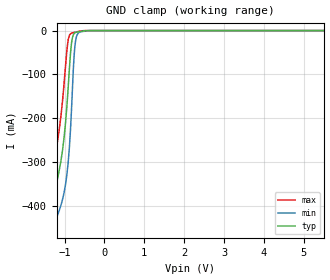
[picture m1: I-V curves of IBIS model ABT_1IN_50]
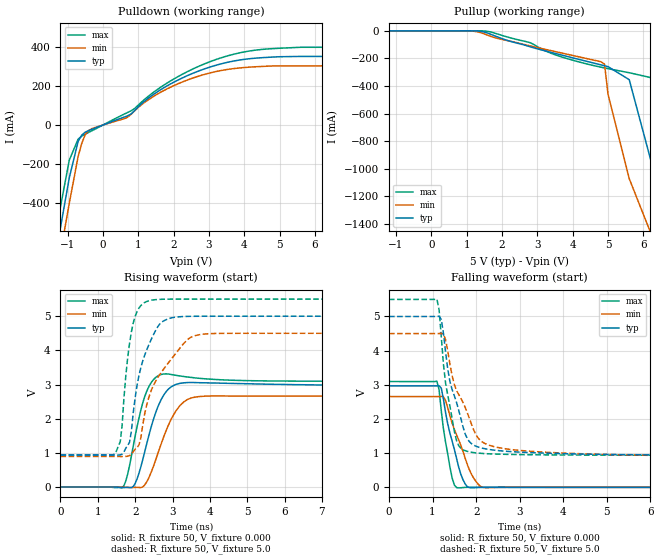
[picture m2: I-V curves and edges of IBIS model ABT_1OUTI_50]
| Philips Semiconductors Inc.
| Logic Products Group
| IBIS model of 74ABT04
| 5V HEX INVERTER
|[Packages]:
|[Package1]: SO 14-pin (D) Package ;
|[Package2]: SSOP 14-Pin Packages ;
|[Package3]: TSSOP 14-pin (PW) Package ;
[IBIS Ver]   3.2
[File Name]   abt04.ibs
[File Rev]   2.0
[Date]   04-Apr-2006
[Source]   File created from simulations by LPG
   Philips Semiconductors Nijmegen
[Notes]   V2.0   Ibis model.
Revision History
| Version Date   Author/ Description
|   Editor
| 1.0   1999   TA   Initial Version
| 1.1   September 2002 RM   Created fro IBIS version 3.2
| 1.2   February 2003  RM   Improved IBIS model
| 2.0   March 2006   RRV   Updated IBIS model
[Disclaimer]
    (C) Copyright 2003 Philips Semiconductors
    All rights reserved
    Philips Semiconductors warrants and represents that the IBIS model
    identified herein is owned by Philips Semiconductors (PHILIPS). The
    model provided is not warranted as fully representing all of the
    operating characteristics and specifications of the semiconductor
    products to which the model relates.  Moreover, unless there is a
    signed, written agreement to the contrary, this IBIS model is
    furnished on an "as is" basis without support or warranty of any
    kind, either expressed or implied, regarding the use thereof, and
    PHILIPS specifically disclaims all implied warranties of
    merchantability and fitness of the model for any purpose.
    PHILIPS does not assume any liability arising out of the application
    or use of this IBIS model including infringement of patents and
    copyrights, nor does PHILIPS convey any license under its patents and
    copyrights or the rights of others.
    PHILIPS provides IBIS models as a service to our customers. You and
    your company shall not distribute, convey, sell, or give these models
    to anyone else without receiving prior written permission from
    PHILIPS.
    PHILIPS reserves the right to make changes without notice to these
    IBIS models to improve reliability, function, or design.
    Please be aware that your receipt and subsequent use of the IBIS
    information provided shall serve as acceptance of the terms and
    conditions of this agreement.  If you do not accept these terms,
    you should return or destroy the IBIS models and any other
    accompanying information immediately.
|   Info for  SO 14-pin (D) Package
[Component]   74ABT04_1
[Manufacturer]   Philips Semiconductors Inc.
[Package]
|   typ   min   max
R_pkg   4.54E-02   4.18E-02   5.01E-02
L_pkg   2.31E-09   1.63E-09   3.26E-09
C_pkg   0.565E-12  0.437E-12  0.736E-12
[Pin] signal_name   model_name   R_pin   L_pin   C_pin
   1   1A   ABT_1IN_50 4.18E-02  3.26E-09 0.675E-12
   2   1Y#   ABT_1OUTI_50 5.01E-02  2.30E-09 0.574E-12
   3   2A   ABT_1IN_50 4.52E-02  1.71E-09 0.467E-12
   4   2Y#   ABT_1OUTI_50 4.38E-02  1.63E-09 0.437E-12
   5   3A   ABT_1IN_50 4.52E-02  1.71E-09 0.465E-12
   6   3Y#   ABT_1OUTI_50 5.01E-02  2.30E-09 0.573E-12
   7   GND   GND 4.18E-02  3.26E-09 0.736E-12
   8   4Y#   ABT_1OUTI_50 4.18E-02  3.26E-09 0.736E-12
   9   4A   ABT_1IN_50 5.01E-02  2.30E-09 0.573E-12
   10   5Y#   ABT_1OUTI_50 4.52E-02  1.71E-09 0.465E-12
   11   5A   ABT_1IN_50 4.38E-02  1.63E-09 0.437E-12
   12   6Y#   ABT_1OUTI_50 4.52E-02  1.71E-09 0.467E-12
   13   6A   ABT_1IN_50 5.01E-02  2.30E-09 0.574E-12
   14   VCC   POWER 4.18E-02  3.26E-09 0.736E-12
|   Info for  SSOP 14-Pin Packages
[Component]   74ABT04_2
[Manufacturer]   Philips Semiconductors Inc.
[Package]
|   typ   min   max
R_pkg   18.10E-03   15.70E-03   19.10E-03
L_pkg   2.12E-09   1.76E-09   2.65E-09
C_pkg   0.59E-12   0.55E-12   0.64E-12
[Pin] signal_name   model_name   R_pin   L_pin   C_pin
   1   1A   ABT_1IN_50 19.10E-03  2.65E-09  0.58E-12
   2   1Y#   ABT_1OUTI_50 17.70E-03  2.07E-09  0.64E-12
   3   2A   ABT_1IN_50 18.70E-03  1.82E-09  0.57E-12
   4   2Y#   ABT_1OUTI_50 15.70E-03  1.76E-09  0.55E-12
   5   3A   ABT_1IN_50 18.70E-03  1.82E-09  0.57E-12
   6   3Y#   ABT_1OUTI_50 17.70E-03  2.07E-09  0.63E-12
   7   GND   GND 19.10E-03  2.65E-09  0.60E-12
   8   4Y#   ABT_1OUTI_50 19.10E-03  2.65E-09  0.60E-12
   9   4A   ABT_1IN_50 17.80E-03  2.07E-09  0.64E-12
   10   5Y#   ABT_1OUTI_50 18.70E-03  1.82E-09  0.57E-12
   11   5A   ABT_1IN_50 15.70E-03  1.76E-09  0.55E-12
   12   6Y#   ABT_1OUTI_50 18.70E-03  1.82E-09  0.57E-12
   13   6A   ABT_1IN_50 17.80E-03  2.07E-09  0.64E-12
   14   VCC   POWER 19.10E-03  2.65E-09  0.60E-12
|   Info for  TSSOP 14-pin (PW) Package
[Component]   74ABT04_3
[Manufacturer]   Philips Semiconductors Inc.
[Package]
|   typ   min   max
R_pkg   3.44E-02   2.80E-02   4.33E-02
L_pkg   1.83E-09   1.36E-09   2.32E-09
C_pkg   0.380E-12  0.302E-12  0.442E-12
[Pin] signal_name   model_name   R_pin   L_pin   C_pin
   1   1A   ABT_1IN_50 3.46E-02  2.32E-09 0.423E-12
   2   1Y#   ABT_1OUTI_50 4.33E-02  2.04E-09 0.441E-12
   3   2A   ABT_1IN_50 2.80E-02  1.36E-09 0.307E-12
   4   2Y#   ABT_1OUTI_50 2.88E-02  1.38E-09 0.302E-12
   5   3A   ABT_1IN_50 2.80E-02  1.36E-09 0.308E-12
   6   3Y#   ABT_1OUTI_50 4.33E-02  2.04E-09 0.441E-12
   7   GND   GND 3.46E-02  2.32E-09 0.433E-12
   8   4Y#   ABT_1OUTI_50 3.46E-02  2.32E-09 0.433E-12
   9   4A   ABT_1IN_50 4.33E-02  2.04E-09 0.441E-12
   10   5Y#   ABT_1OUTI_50 2.80E-02  1.36E-09 0.308E-12
   11   5A   ABT_1IN_50 2.88E-02  1.38E-09 0.302E-12
   12   6Y#   ABT_1OUTI_50 2.80E-02  1.36E-09 0.308E-12
   13   6A   ABT_1IN_50 4.33E-02  2.04E-09 0.442E-12
   14   VCC   POWER 3.46E-02  2.31E-09 0.433E-12
| Models and submodels in the file (2): ABT_1IN_50 (Input), ABT_1OUTI_50 (Output)
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|   Model ABT_1IN_50
[Model]   ABT_1IN_50
Model_type   Input
Vinl = 0.8V
Vinh = 2.0V
C_comp   1.16pF   0.81pF   1.60pF
[Model Spec]
| Note: The input and output voltage ratings may be exceeded if the input and
|   output current ratings are observed (please refer to the data sheet)
|   Subparameter   typ   min   max
| Thresholds
Vinl   0.8   0.8   0.8
Vinh   2.0   2.0   2.0
| Overshoot
S_overshoot_high   7.0   7.0   7.0
S_overshoot_low   -0.5   -0.5   -0.5
D_overshoot_high   7.2   7.2   7.2
D_overshoot_low   -1.3   -1.3   -1.3
D_overshoot_time   3n   3n   3n
|Ambient temperature:   25   85   -40
[Temperature Range]   35   95   -30
[Voltage Range]   5.0   4.5   5.5
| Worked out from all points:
|   GND clamp passes 1 mA (typ) near -0.54 V on its own axis
|Process Range   nominal   slow   fast
[GND_clamp]
|   voltage   I(typ)   I(min)   I(max)
-5.5V     -5.63A     -5.221A    -5.87A
-1.433V   -532.6mA   -603.8mA   -460.4mA
-1.365V   -469mA     -540.4mA   -396.3mA
-1.244V   -369.8mA   -444.4mA   -293.6mA
-1.094V   -300mA     -400.1mA   -198.6mA
-1.011V   -244.4mA   -370mA     -121.7mA
-908mV    -130.2mA   -301mA     -20.88mA
-824mV    -28.26mA   -179.7mA   -5.876mA
-778mV    -9.681mA   -87.22mA   -4.623mA
-739mV    -5.141mA   -35.12mA   -3.857mA
-608mV    -2.187mA   -3.211mA   -1.117mA
5.5V      0A         0A         0A
|   Model ABT_1OUTI_50
[Model]   ABT_1OUTI_50
Model_type   Output
Polarity   Inverting
Vmeas =  1.5V
Cref  =  5e-11
Rref  =  500
Vref  =  0V
C_comp   5.79pF   4.47pF   7.23pF
[Model Spec]
| Note: The input and output voltage ratings may be exceeded if the input and
|   output current ratings are observed (please refer to the data sheet)
|   Subparameter   typ   min   max
| Timing Thresholds
Vmeas   1.5   1.5   1.5
|Ambient temperature:   25   85   -40
[Temperature Range]   35   95   -30
[Voltage Range]   5.0   4.5   5.5
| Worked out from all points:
|   slope of the pulldown table from 0 to 0.75 V, typ, clamps not added: 14.4 ohm
|   rising waveform, R_fixture 50, V_fixture 0.000: 20-80 % time 468ps typ, 574ps min, 359ps max; typ from 0 V to 2.97 V
|   rising waveform, R_fixture 50, V_fixture 5.0: 20-80 % time 466ps typ, 818ps min, 255ps max; typ from 0.936 V to 5 V
|   falling waveform, R_fixture 50, V_fixture 0.000: 20-80 % time 324ps typ, 449ps min, 215ps max; typ from 2.97 V to 0 V
|   falling waveform, R_fixture 50, V_fixture 5.0: 20-80 % time 425ps typ, 589ps min, 282ps max; typ from 5 V to 0.937 V
|Process Range   nominal   slow   fast
[Pulldown]
|   voltage   I(typ)   I(min)   I(max)
-5.5V     -4.832A    -4.95A     -4.712A
-1.3V     -629.1mA   -759mA     -515.8mA
-950mV    -270.7mA   -401mA     -179.9mA
-700mV    -83.77mA   -161.4mA   -72.51mA
-600mV    -52mA      -95.35mA   -57.25mA
-300mV    -21.08mA   -17.28mA   -28.3mA
700mV     47.28mA    39.91mA    64.47mA
1.6V      177.3mA    164.7mA    189.5mA
2.8V      283.2mA    255.8mA    308.1mA
4.3V      342.8mA    298.8mA    383.8mA
8.6V      362.9mA    314.7mA    408.1mA
11V       447.6mA    386.8mA    502mA
[Pullup]
|   voltage   I(typ)   I(min)   I(max)
-6.5V     4.567nA    113.1nA    3.605nA
900mV     -3.11uA    -114.4uA   -6.046nA
1.5V      -9.016mA   -22.55mA   -1.192mA
2.8V      -116.2mA   -109.6mA   -86.34mA
4.8V      -247mA     -224.6mA   -263.7mA
4.9V      -253.3mA   -240.9mA   -269.2mA
5V        -259.6mA   -459.9mA   -274.5mA
5.6V      -354.3mA   -1.072A    -303.8mA
6.2V      -928.4mA   -1.46A     -338.7mA
6.8V      -1.493A    -1.771A    -853.4mA
7.4V      -2.165A    -2.351A    -1.477A
11V       -5.336A    -5.955A    -4.714A
[Ramp]
| variable   typ   min   max
dV/dt_r   1.783V/467.812ps   1.596V/574.020ps   1.858V/359.358ps
dV/dt_f   2.438V/425.083ps   2.159V/589.135ps   2.737V/282.366ps
R_load = 50
[Rising Waveform]
R_fixture   = 50
V_fixture   = 0.000
V_fixture_min = 0.000
V_fixture_max = 0.000
| time   V(typ)   V(min)   V(max)
0s        389.3pV    345.1pV    826.1pV
1.65ns    -14.66mV   -1.456mV   -24.23mV
1.8ns     -10.51mV   -9.862mV   377.6mV
1.95ns    18.29mV    -12.61mV   1.206V
2.25ns    1.003V     52.66mV    2.627V
2.45ns    1.837V     490.4mV    3.089V
2.7ns     2.567V     1.274V     3.294V
3.1ns     3.007V     2.241V     3.268V
3.6ns     3.058V     2.631V     3.195V
9.75ns    2.972V     2.659V     3.096V
[Rising Waveform]
R_fixture   = 50
V_fixture   = 5.0
V_fixture_min = 4.5
V_fixture_max = 5.5
| time   V(typ)   V(min)   V(max)
0s        935.6mV    894.7mV    938.9mV
1.5ns     933.7mV    894.8mV    1.057V
1.6ns     941mV      893.4mV    1.322V
1.75ns    1.139V     895.5mV    3.253V
1.9ns     1.641V     960.3mV    4.544V
2.05ns    2.972V     1.156V     5.135V
2.3ns     3.988V     2.366V     5.426V
2.7ns     4.816V     3.357V     5.495V
3.6ns     4.998V     4.43V      5.5V
9.75ns    5V         4.5V       5.5V
[Falling Waveform]
R_fixture   = 50
V_fixture   = 0.000
V_fixture_min = 0.000
V_fixture_max = 0.000
| time   V(typ)   V(min)   V(max)
0s        2.969V     2.657V     3.097V
1.1ns     2.969V     2.657V     3.105V
1.15ns    2.975V     2.657V     2.854V
1.2ns     2.903V     2.661V     2.241V
1.3ns     2.176V     2.535V     1.312V
1.4ns     1.578V     2.083V     584.5mV
1.55ns    853.1mV    1.539V     -6.183mV
1.8ns     15.08mV    659.6mV    1.031mV
2.2ns     953.3uV    -8.624mV   1.231mV
9.75ns    17.14uV    23.41uV    11.87uV
[Falling Waveform]
R_fixture   = 50
V_fixture   = 5.0
V_fixture_min = 4.5
V_fixture_max = 5.5
| time   V(typ)   V(min)   V(max)
0s        5V         4.5V       5.5V
1.1ns     5V         4.5V       5.508V
1.15ns    5.006V     4.501V     5.197V
1.2ns     4.913V     4.505V     4.41V
1.3ns     3.949V     4.315V     3.037V
1.5ns     2.68V      3.007V     1.639V
1.75ns    1.559V     2.336V     1.072V
2.1ns     1.159V     1.369V     995.8mV
2.75ns    1.05V      1.115V     963.9mV
9.75ns    937.1mV    902mV      938.9mV
